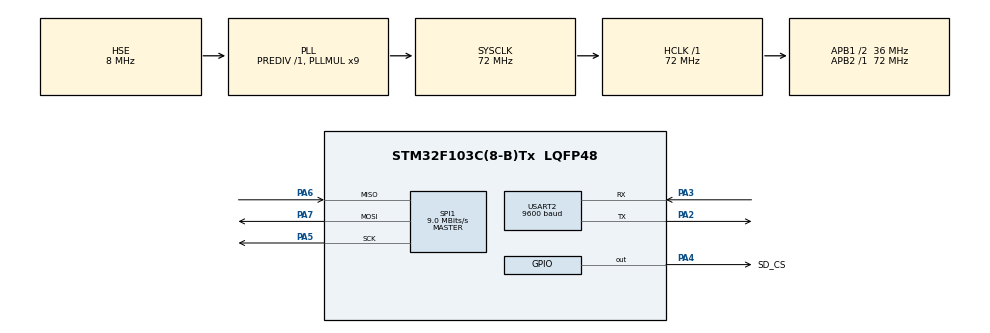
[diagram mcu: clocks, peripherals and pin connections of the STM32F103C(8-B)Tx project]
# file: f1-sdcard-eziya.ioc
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Mcu.Family=STM32F1
RCC.PLLSourceVirtual=RCC_PLLSOURCE_HSE
PA6.Mode=Full_Duplex_Master
PA7.Mode=Full_Duplex_Master
FATFS._USE_LFN=0
PD1-OSC_OUT.Mode=HSE-External-Oscillator
SPI1.VirtualType=VM_MASTER
PD0-OSC_IN.Signal=RCC_OSC_IN
RCC.APB1CLKDivider=RCC_HCLK_DIV2
USART2.BaudRate=9600
RCC.SYSCLKSource=RCC_SYSCLKSOURCE_PLLCLK
ProjectManager.StackSize=0x400
PD1-OSC_OUT.Signal=RCC_OSC_OUT
PA13.Signal=SYS_JTMS-SWDIO
PA3.Mode=Asynchronous
ProjectManager.TargetToolchain=STM32CubeIDE
SPI1.Direction=SPI_DIRECTION_2LINES
RCC.HCLKFreq_Value=72000000
RCC.APB2TimFreq_Value=72000000
SPI1.CalculateBaudRate=9.0 MBits/s
RCC.USBFreq_Value=72000000
RCC.AHBFreq_Value=72000000
VP_FATFS_VS_Generic.Mode=User_defined
PD0-OSC_IN.Mode=HSE-External-Oscillator
PA5.Signal=SPI1_SCK
board=custom
RCC.PLLMUL=RCC_PLL_MUL9
RCC.APB2Freq_Value=72000000
SPI1.Mode=SPI_MODE_MASTER
PA14.Mode=Serial_Wire
PA13.Mode=Serial_Wire
Mcu.Name=STM32F103C(8-B)Tx
PA2.Signal=USART2_TX
FATFS._MAX_SS=4096
RCC.SYSCLKFreq_VALUE=72000000
PA4.Signal=GPIO_Output
Mcu.Package=LQFP48
PA6.Signal=SPI1_MISO
USART2.VirtualMode=VM_ASYNC
PA14.Signal=SYS_JTCK-SWCLK
ProjectManager.HeapSize=0x200
NVIC.PriorityGroup=NVIC_PRIORITYGROUP_4
RCC.APB1TimFreq_Value=72000000
PA2.Mode=Asynchronous
RCC.APB1Freq_Value=36000000
SPI1.BaudRatePrescaler=SPI_BAUDRATEPRESCALER_8
PA4.GPIO_Label=SD_CS
PA3.Signal=USART2_RX
PA5.Mode=Full_Duplex_Master
PA7.Signal=SPI1_MOSI

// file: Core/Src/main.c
/* USER CODE BEGIN Header */
/**
 ******************************************************************************
 * @file           : main.c
 * @brief          : Main program body
 ******************************************************************************
 * @attention
 *
 * <h2><center>&copy; Copyright (c) 2021 STMicroelectronics.
 * All rights reserved.</center></h2>
 *
 * This software component is licensed by ST under Ultimate Liberty license
 * SLA0044, the "License"; You may not use this file except in compliance with
 * the License. You may obtain a copy of the License at:
 *                             www.st.com/SLA0044
 *
 ******************************************************************************
 */
/* USER CODE END Header */
#include "main.h"
#include "fatfs.h"

/* USER CODE BEGIN Includes */
#include <stdio.h>
#include <string.h>
#include "redirect-printf.h"
/* USER CODE END Includes */

SPI_HandleTypeDef hspi1;

UART_HandleTypeDef huart2;

/* USER CODE BEGIN PV */
FATFS FatFs;	//FatFs handle
FIL fil;		//File handle
FRESULT fres;	//Result after operation
/* USER CODE END PV */

void SystemClock_Config(void);
static void MX_GPIO_Init(void);
static void MX_SPI1_Init(void);
static void MX_USART2_UART_Init(void);

int main(void) {

	/* MCU Configuration--------------------------------------------------------*/

	/* Reset of all peripherals, Initializes the Flash interface and the Systick. */
	HAL_Init();

	/* Configure the system clock */
	SystemClock_Config();

	/* Initialize all configured peripherals */
	MX_GPIO_Init();
	MX_SPI1_Init();
	MX_FATFS_Init();
	MX_USART2_UART_Init();
	/* USER CODE BEGIN 2 */
	printf("SD Card connection test!\n");
	HAL_Delay(1000);
	fres = f_mount(&FatFs, "", 1);
	if (fres != FR_OK) {
		printf("ERROR %d\n", fres);
		printf("Failed to mount SD card!\n");
	} else
		printf("SD card is mounted successfully!\n");

	//Let's get some statistics from the SD card
	DWORD free_clusters, free_sectors, total_sectors;

	FATFS *getFreeFs;

	fres = f_getfree("", &free_clusters, &getFreeFs);
	if (fres != FR_OK) {
		printf("f_getfree error (%i)\n", fres);
		while (1)
			;
	}
	total_sectors = (getFreeFs->n_fatent - 2) * getFreeFs->csize;
	free_sectors = free_clusters * getFreeFs->csize;
	printf("SD card stats:\n");
	printf("%10lu KiB total drive space.\n", total_sectors / 2);
	printf("%10lu KiB available.\n", free_sectors / 2);

	fres = f_open(&fil, "write.txt",
	FA_WRITE | FA_OPEN_ALWAYS | FA_CREATE_ALWAYS);
	if (fres == FR_OK) {
		printf("Open file write.txt successfully!\n");
	} else {
		printf("f_open error (%i)\n", fres);
	}
	BYTE writeBuffer[30];
	//Copy in a string
	strncpy((char*) writeBuffer, "08/03/2021 new file is made!", 30);
	UINT writtenBytes;
	fres = f_write(&fil, writeBuffer, sizeof(writeBuffer), &writtenBytes);
	if (fres == FR_OK) {
		printf("Wrote %i bytes to 'write.txt'!\n", writtenBytes);
	} else {
		printf("f_write error (%i)\n", fres);
	}
	// Close file after writing
	f_close(&fil);

	//Now let's try to open file "write.txt"
	fres = f_open(&fil, "write.txt", FA_READ);
	if (fres != FR_OK) {
		printf("f_open error (%i)\n", fres);
		while (1)
			;
	} else
		printf("Open 'write.txt' successfully!\n");

	//Read 30 bytes from "write.txt" on the SD card
	BYTE readBuffer[30];

	//We can either use f_read OR f_gets to get data out of files
	//f_gets is a wrapper on f_read that does some string formatting for us
	TCHAR *rres = f_gets((TCHAR*) readBuffer, sizeof(readBuffer), &fil);
	if (rres != 0) {
		printf("Read string from 'write.txt' contents: \n%s\n", readBuffer);
	} else {
		printf("f_gets error (%i)\n", fres);
	}

	//Close file after reading
	f_close(&fil);

	// Unmount disk after all
	f_mount(NULL, "", 0);
	/* USER CODE END 2 */

	/* Infinite loop */
	while (1) {

	}
}

void SystemClock_Config(void) {
	RCC_OscInitTypeDef RCC_OscInitStruct = { 0 };
	RCC_ClkInitTypeDef RCC_ClkInitStruct = { 0 };

	/** Initializes the RCC Oscillators according to the specified parameters
	 * in the RCC_OscInitTypeDef structure.
	 */
	RCC_OscInitStruct.OscillatorType = RCC_OSCILLATORTYPE_HSE;
	RCC_OscInitStruct.HSEState = RCC_HSE_ON;
	RCC_OscInitStruct.HSEPredivValue = RCC_HSE_PREDIV_DIV1;
	RCC_OscInitStruct.HSIState = RCC_HSI_ON;
	RCC_OscInitStruct.PLL.PLLState = RCC_PLL_ON;
	RCC_OscInitStruct.PLL.PLLSource = RCC_PLLSOURCE_HSE;
	RCC_OscInitStruct.PLL.PLLMUL = RCC_PLL_MUL9;
	if (HAL_RCC_OscConfig(&RCC_OscInitStruct) != HAL_OK) {
		Error_Handler();
	}
	/** Initializes the CPU, AHB and APB buses clocks
	 */
	RCC_ClkInitStruct.ClockType = RCC_CLOCKTYPE_HCLK | RCC_CLOCKTYPE_SYSCLK
			| RCC_CLOCKTYPE_PCLK1 | RCC_CLOCKTYPE_PCLK2;
	RCC_ClkInitStruct.SYSCLKSource = RCC_SYSCLKSOURCE_PLLCLK;
	RCC_ClkInitStruct.AHBCLKDivider = RCC_SYSCLK_DIV1;
	RCC_ClkInitStruct.APB1CLKDivider = RCC_HCLK_DIV2;
	RCC_ClkInitStruct.APB2CLKDivider = RCC_HCLK_DIV1;

	if (HAL_RCC_ClockConfig(&RCC_ClkInitStruct, FLASH_LATENCY_2) != HAL_OK) {
		Error_Handler();
	}
}

static void MX_SPI1_Init(void) {

	/* SPI1 parameter configuration*/
	hspi1.Instance = SPI1;
	hspi1.Init.Mode = SPI_MODE_MASTER;
	hspi1.Init.Direction = SPI_DIRECTION_2LINES;
	hspi1.Init.DataSize = SPI_DATASIZE_8BIT;
	hspi1.Init.CLKPolarity = SPI_POLARITY_LOW;
	hspi1.Init.CLKPhase = SPI_PHASE_1EDGE;
	hspi1.Init.NSS = SPI_NSS_SOFT;
	hspi1.Init.BaudRatePrescaler = SPI_BAUDRATEPRESCALER_8;
	hspi1.Init.FirstBit = SPI_FIRSTBIT_MSB;
	hspi1.Init.TIMode = SPI_TIMODE_DISABLE;
	hspi1.Init.CRCCalculation = SPI_CRCCALCULATION_DISABLE;
	hspi1.Init.CRCPolynomial = 10;
	if (HAL_SPI_Init(&hspi1) != HAL_OK) {
		Error_Handler();
	}

}

static void MX_USART2_UART_Init(void) {

	huart2.Instance = USART2;
	huart2.Init.BaudRate = 9600;
	huart2.Init.WordLength = UART_WORDLENGTH_8B;
	huart2.Init.StopBits = UART_STOPBITS_1;
	huart2.Init.Parity = UART_PARITY_NONE;
	huart2.Init.Mode = UART_MODE_TX_RX;
	huart2.Init.HwFlowCtl = UART_HWCONTROL_NONE;
	huart2.Init.OverSampling = UART_OVERSAMPLING_16;
	if (HAL_UART_Init(&huart2) != HAL_OK) {
		Error_Handler();
	}

}

static void MX_GPIO_Init(void) {
	GPIO_InitTypeDef GPIO_InitStruct = { 0 };

	/* GPIO Ports Clock Enable */
	__HAL_RCC_GPIOD_CLK_ENABLE();
	__HAL_RCC_GPIOA_CLK_ENABLE();

	/*Configure GPIO pin Output Level */
	HAL_GPIO_WritePin(SD_CS_GPIO_Port, SD_CS_Pin, GPIO_PIN_RESET);

	/*Configure GPIO pin : SD_CS_Pin */
	GPIO_InitStruct.Pin = SD_CS_Pin;
	GPIO_InitStruct.Mode = GPIO_MODE_OUTPUT_PP;
	GPIO_InitStruct.Pull = GPIO_NOPULL;
	GPIO_InitStruct.Speed = GPIO_SPEED_FREQ_LOW;
	HAL_GPIO_Init(SD_CS_GPIO_Port, &GPIO_InitStruct);

}

void Error_Handler(void) {
	__disable_irq();
	while (1) {
	}
}

/************************ (C) COPYRIGHT STMicroelectronics *****END OF FILE****/
